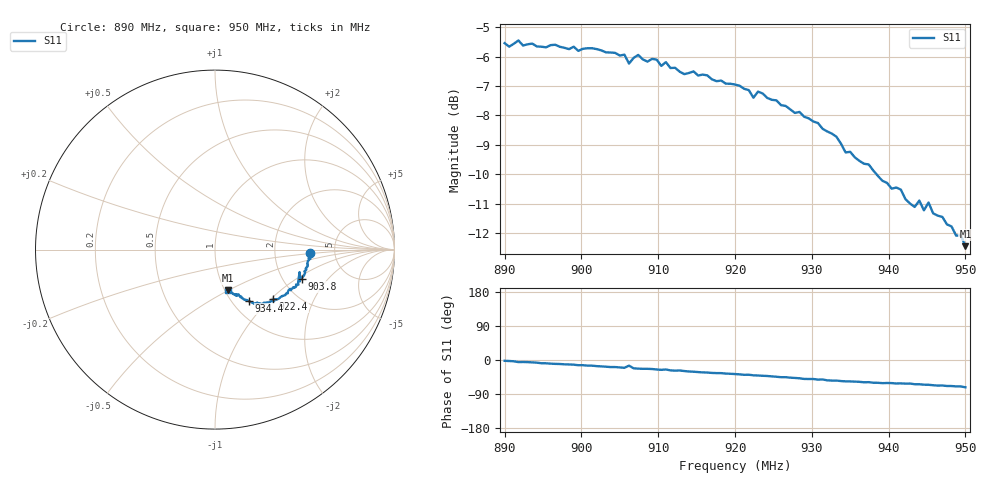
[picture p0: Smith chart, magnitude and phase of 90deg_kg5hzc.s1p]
# HZ S RI R 50
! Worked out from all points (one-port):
!   101 points, 890 MHz to 950 MHz, reference 50 ohm
!   lowest |S11| = -12.5 dB at 950 MHz (marker M1), VSWR 1.63, Z = 51.8 - j24.9 ohm
!   |S11| at or under -10 dB: 938.4 MHz to end of sweep
!   S11 on the Smith chart (normalised r, x): 890 MHz: 3.23, -0.18; 903.8 MHz: 2.52, -1.11; 922.4 MHz: 1.54, -1.04; 934.4 MHz: 1.20, -0.78; 950 MHz: 1.04, -0.50
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8.9e8  0.5279 -0.0197
8.918e8  0.5314 -0.0515
8.93e8  0.5234 -0.0513
8.978e8  0.5085 -0.1025
9.038e8  0.4826 -0.1627
9.05e8  0.4742 -0.1685
9.056e8  0.473 -0.1771
9.062e8  0.4713 -0.1256
9.068e8  0.4624 -0.1867
9.074e8  0.465 -0.1955
9.104e8  0.4345 -0.2115
9.11e8  0.4442 -0.2078
9.122e8  0.4228 -0.2266
9.128e8  0.4186 -0.219
9.158e8  0.3929 -0.2526
9.2e8  0.3585 -0.2707
9.224e8  0.3248 -0.2767
9.23e8  0.3302 -0.2863
9.278e8  0.2722 -0.2957
9.332e8  0.2137 -0.2974
9.344e8  0.1906 -0.2868
9.35e8  0.1904 -0.2878
9.416e8  0.1409 -0.2621
9.428e8  0.1315 -0.2493
9.44e8  0.125 -0.2563
9.446e8  0.1154 -0.249
9.452e8  0.1179 -0.2573
9.5e8  0.0735 -0.2269
